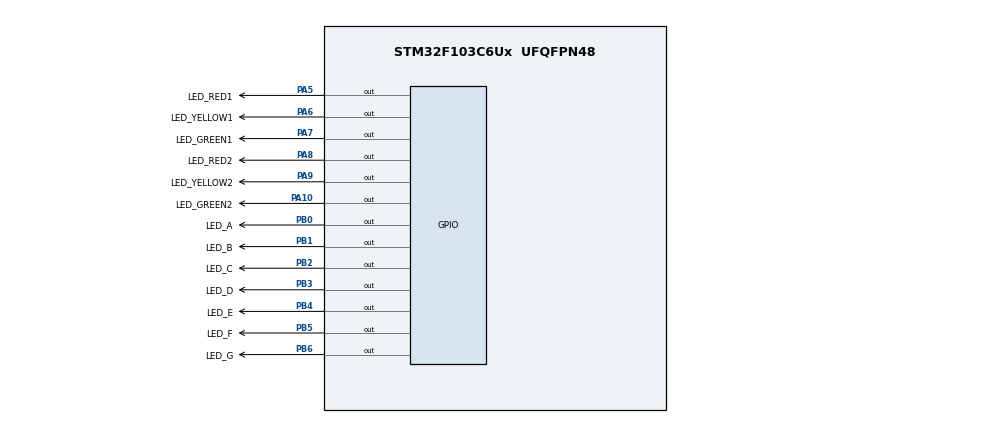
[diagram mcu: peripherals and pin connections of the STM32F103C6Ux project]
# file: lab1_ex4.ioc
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Mcu.Family=STM32F1
Mcu.Name=STM32F103C6Ux
Mcu.Package=UFQFPN48
NVIC.PriorityGroup=NVIC_PRIORITYGROUP_4
PA10.GPIO_Label=LED_GREEN2
PA10.Signal=GPIO_Output
PA5.GPIO_Label=LED_RED1
PA5.Signal=GPIO_Output
PA6.GPIO_Label=LED_YELLOW1
PA6.Signal=GPIO_Output
PA7.GPIO_Label=LED_GREEN1
PA7.Signal=GPIO_Output
PA8.GPIO_Label=LED_RED2
PA8.Signal=GPIO_Output
PA9.GPIO_Label=LED_YELLOW2
PA9.Signal=GPIO_Output
PB0.GPIO_Label=LED_A
PB0.Signal=GPIO_Output
PB1.GPIO_Label=LED_B
PB1.Signal=GPIO_Output
PB2.GPIO_Label=LED_C
PB2.Signal=GPIO_Output
PB3.GPIO_Label=LED_D
PB3.Signal=GPIO_Output
PB4.GPIO_Label=LED_E
PB4.Signal=GPIO_Output
PB5.GPIO_Label=LED_F
PB5.Signal=GPIO_Output
PB6.GPIO_Label=LED_G
PB6.Signal=GPIO_Output
ProjectManager.HeapSize=0x200
ProjectManager.StackSize=0x400
ProjectManager.TargetToolchain=STM32CubeIDE
RCC.APB1Freq_Value=8000000
RCC.APB2Freq_Value=8000000
VP_SYS_VS_ND.Mode=No_Debug
board=custom

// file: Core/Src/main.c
/* USER CODE BEGIN Header */
/**
  ******************************************************************************
  * @file           : main.c
  * @brief          : Main program body
  ******************************************************************************
  * @attention
  *
  * <h2><center>&copy; Copyright (c) 2023 STMicroelectronics.
  * All rights reserved.</center></h2>
  *
  * This software component is licensed by ST under BSD 3-Clause license,
  * the "License"; You may not use this file except in compliance with the
  * License. You may obtain a copy of the License at:
  *                        opensource.org/licenses/BSD-3-Clause
  *
  ******************************************************************************
  */
/* USER CODE END Header */
#include "main.h"

void SystemClock_Config(void);
static void MX_GPIO_Init(void);

int main(void)
{

  /* MCU Configuration--------------------------------------------------------*/

  /* Reset of all peripherals, Initializes the Flash interface and the Systick. */
  HAL_Init();

  /* Configure the system clock */
  SystemClock_Config();

  /* Initialize all configured peripherals */
  MX_GPIO_Init();

  /* Infinite loop */
  /* USER CODE BEGIN WHILE */
  void display7SEG(int num){
  	  HAL_GPIO_WritePin(LED_A_GPIO_Port, LED_A_Pin, RESET);
  	  HAL_GPIO_WritePin(LED_B_GPIO_Port, LED_B_Pin, RESET);
  	  HAL_GPIO_WritePin(LED_C_GPIO_Port, LED_C_Pin, RESET);
  	  HAL_GPIO_WritePin(LED_D_GPIO_Port, LED_D_Pin, RESET);
  	  HAL_GPIO_WritePin(LED_E_GPIO_Port, LED_E_Pin, RESET);
  	  HAL_GPIO_WritePin(LED_F_GPIO_Port, LED_F_Pin, RESET);
  	  HAL_GPIO_WritePin(LED_G_GPIO_Port, LED_G_Pin, RESET);
  	  if (num == 0 ){
  		  HAL_GPIO_WritePin(LED_G_GPIO_Port, LED_G_Pin, SET);
  	  }
  	  else if (num == 1){
  		  HAL_GPIO_WritePin(LED_A_GPIO_Port, LED_A_Pin, SET);
  		  HAL_GPIO_WritePin(LED_D_GPIO_Port, LED_D_Pin, SET);
  		  HAL_GPIO_WritePin(LED_E_GPIO_Port, LED_E_Pin, SET);
  		  HAL_GPIO_WritePin(LED_F_GPIO_Port, LED_F_Pin, SET);
  		  HAL_GPIO_WritePin(LED_G_GPIO_Port, LED_G_Pin, SET);
  	  }
  	  else if (num == 2){
  		  HAL_GPIO_WritePin(LED_C_GPIO_Port, LED_C_Pin, SET);
  		  HAL_GPIO_WritePin(LED_F_GPIO_Port, LED_F_Pin, SET);
  	  }
  	  else if (num == 3){
  		  HAL_GPIO_WritePin(LED_E_GPIO_Port, LED_E_Pin, SET);
  		  HAL_GPIO_WritePin(LED_F_GPIO_Port, LED_F_Pin, SET);
  	  }
  	  else if (num == 4){
  		  HAL_GPIO_WritePin(LED_A_GPIO_Port, LED_A_Pin, SET);
  		  HAL_GPIO_WritePin(LED_D_GPIO_Port, LED_D_Pin, SET);
  		  HAL_GPIO_WritePin(LED_E_GPIO_Port, LED_E_Pin, SET);
  	  }
  	  else if (num == 5){
  		  HAL_GPIO_WritePin(LED_B_GPIO_Port, LED_B_Pin, SET);
  		  HAL_GPIO_WritePin(LED_E_GPIO_Port, LED_E_Pin, SET);
  	  }
  	  else if (num == 6){
  		  HAL_GPIO_WritePin(LED_B_GPIO_Port, LED_B_Pin, SET);
  	  }
  	  else if (num == 7){
  		  HAL_GPIO_WritePin(LED_D_GPIO_Port, LED_D_Pin, SET);
  		  HAL_GPIO_WritePin(LED_E_GPIO_Port, LED_E_Pin, SET);
  		  HAL_GPIO_WritePin(LED_F_GPIO_Port, LED_F_Pin, SET);
  		  HAL_GPIO_WritePin(LED_G_GPIO_Port, LED_G_Pin, SET);
  	  }
  	  else if (num == 8){

  	  }
  	  else if (num == 9){
  		  HAL_GPIO_WritePin(LED_E_GPIO_Port, LED_E_Pin, SET);
  	  }
    }

  int counter = 0;
  while (1)
  {
	    if(counter >= 10) counter = 0;
	    display7SEG(counter++);
	    HAL_Delay(1000);
    /* USER CODE END WHILE */

  }
}

void SystemClock_Config(void)
{
  RCC_OscInitTypeDef RCC_OscInitStruct = {0};
  RCC_ClkInitTypeDef RCC_ClkInitStruct = {0};

  /** Initializes the RCC Oscillators according to the specified parameters
  * in the RCC_OscInitTypeDef structure.
  */
  RCC_OscInitStruct.OscillatorType = RCC_OSCILLATORTYPE_HSI;
  RCC_OscInitStruct.HSIState = RCC_HSI_ON;
  RCC_OscInitStruct.HSICalibrationValue = RCC_HSICALIBRATION_DEFAULT;
  RCC_OscInitStruct.PLL.PLLState = RCC_PLL_NONE;
  if (HAL_RCC_OscConfig(&RCC_OscInitStruct) != HAL_OK)
  {
    Error_Handler();
  }
  /** Initializes the CPU, AHB and APB buses clocks
  */
  RCC_ClkInitStruct.ClockType = RCC_CLOCKTYPE_HCLK|RCC_CLOCKTYPE_SYSCLK
                              |RCC_CLOCKTYPE_PCLK1|RCC_CLOCKTYPE_PCLK2;
  RCC_ClkInitStruct.SYSCLKSource = RCC_SYSCLKSOURCE_HSI;
  RCC_ClkInitStruct.AHBCLKDivider = RCC_SYSCLK_DIV1;
  RCC_ClkInitStruct.APB1CLKDivider = RCC_HCLK_DIV1;
  RCC_ClkInitStruct.APB2CLKDivider = RCC_HCLK_DIV1;

  if (HAL_RCC_ClockConfig(&RCC_ClkInitStruct, FLASH_LATENCY_0) != HAL_OK)
  {
    Error_Handler();
  }
}

static void MX_GPIO_Init(void)
{
  GPIO_InitTypeDef GPIO_InitStruct = {0};

  /* GPIO Ports Clock Enable */
  __HAL_RCC_GPIOA_CLK_ENABLE();
  __HAL_RCC_GPIOB_CLK_ENABLE();

  /*Configure GPIO pin Output Level */
  HAL_GPIO_WritePin(GPIOA, LED_RED1_Pin|LED_YELLOW1_Pin|LED_GREEN1_Pin|LED_RED2_Pin
                          |LED_YELLOW2_Pin|LED_GREEN2_Pin, GPIO_PIN_RESET);

  /*Configure GPIO pin Output Level */
  HAL_GPIO_WritePin(GPIOB, LED_A_Pin|LED_B_Pin|LED_C_Pin|LED_D_Pin
                          |LED_E_Pin|LED_F_Pin|LED_G_Pin, GPIO_PIN_RESET);

  /*Configure GPIO pins : LED_RED1_Pin LED_YELLOW1_Pin LED_GREEN1_Pin LED_RED2_Pin
                           LED_YELLOW2_Pin LED_GREEN2_Pin */
  GPIO_InitStruct.Pin = LED_RED1_Pin|LED_YELLOW1_Pin|LED_GREEN1_Pin|LED_RED2_Pin
                          |LED_YELLOW2_Pin|LED_GREEN2_Pin;
  GPIO_InitStruct.Mode = GPIO_MODE_OUTPUT_PP;
  GPIO_InitStruct.Pull = GPIO_NOPULL;
  GPIO_InitStruct.Speed = GPIO_SPEED_FREQ_LOW;
  HAL_GPIO_Init(GPIOA, &GPIO_InitStruct);

  /*Configure GPIO pins : LED_A_Pin LED_B_Pin LED_C_Pin LED_D_Pin
                           LED_E_Pin LED_F_Pin LED_G_Pin */
  GPIO_InitStruct.Pin = LED_A_Pin|LED_B_Pin|LED_C_Pin|LED_D_Pin
                          |LED_E_Pin|LED_F_Pin|LED_G_Pin;
  GPIO_InitStruct.Mode = GPIO_MODE_OUTPUT_PP;
  GPIO_InitStruct.Pull = GPIO_NOPULL;
  GPIO_InitStruct.Speed = GPIO_SPEED_FREQ_LOW;
  HAL_GPIO_Init(GPIOB, &GPIO_InitStruct);

}

void Error_Handler(void)
{
  __disable_irq();
  while (1)
  {
  }
}

/************************ (C) COPYRIGHT STMicroelectronics *****END OF FILE****/
